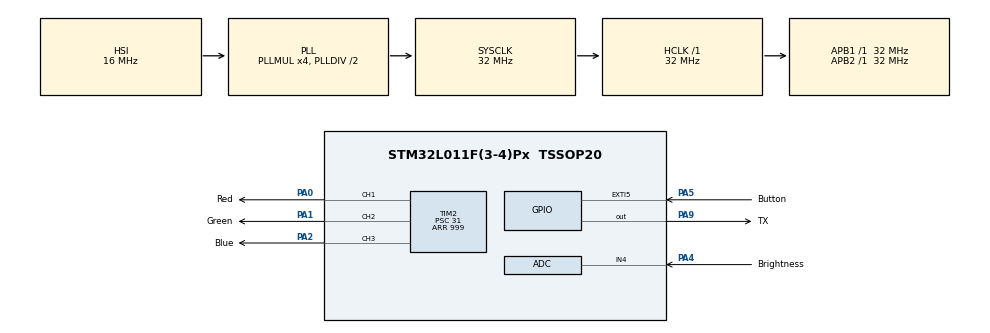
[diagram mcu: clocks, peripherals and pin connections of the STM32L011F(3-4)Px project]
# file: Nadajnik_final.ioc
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Mcu.Family=STM32L0
Mcu.Name=STM32L011F(3-4)Px
Mcu.Package=TSSOP20
NVIC.EXTI4_15_IRQn=true\:0\:0\:false\:false\:true\:true\:true
PA0-CK_IN.GPIO_Label=Red
PA0-CK_IN.Signal=S_TIM2_CH1
PA1.GPIO_Label=Green
PA1.Signal=S_TIM2_CH2
PA13.Mode=Serial_Wire
PA13.Signal=SYS_SWDIO
PA14.Mode=Serial_Wire
PA14.Signal=SYS_SWCLK
PA2.GPIO_Label=Blue
PA2.Signal=S_TIM2_CH3
PA4.GPIO_Label=Brightness
PA4.Mode=IN4
PA4.Signal=ADC_IN4
PA5.GPIO_Label=Button
PA5.GPIO_ModeDefaultEXTI=GPIO_MODE_IT_FALLING
PA5.Signal=GPXTI5
PA9.GPIO_Label=TX
PA9.GPIO_Speed=GPIO_SPEED_FREQ_LOW
PA9.Signal=GPIO_Output
ProjectManager.HeapSize=0x200
ProjectManager.StackSize=0x400
ProjectManager.TargetToolchain=TrueSTUDIO
RCC.AHBFreq_Value=32000000
RCC.APB1Freq_Value=32000000
RCC.APB1TimFreq_Value=32000000
RCC.APB2Freq_Value=32000000
RCC.APB2TimFreq_Value=32000000
RCC.HCLKFreq_Value=32000000
RCC.HSE_VALUE=8000000
RCC.HSI16_VALUE=16000000
RCC.HSI_VALUE=16000000
RCC.LSE_VALUE=32768
RCC.MSI_VALUE=2097000
RCC.PLLMUL=RCC_PLLMUL_4
RCC.SYSCLKFreq_VALUE=32000000
RCC.SYSCLKSource=RCC_SYSCLKSOURCE_PLLCLK
RCC.VCOOutputFreq_Value=64000000
SH.S_TIM2_CH1.0=TIM2_CH1,PWM Generation1 CH1
SH.S_TIM2_CH2.0=TIM2_CH2,PWM Generation2 CH2
SH.S_TIM2_CH3.0=TIM2_CH3,PWM Generation3 CH3
TIM2.AutoReloadPreload=TIM_AUTORELOAD_PRELOAD_DISABLE
TIM2.Channel-PWM\ Generation1\ CH1=TIM_CHANNEL_1
TIM2.Channel-PWM\ Generation2\ CH2=TIM_CHANNEL_2
TIM2.Channel-PWM\ Generation3\ CH3=TIM_CHANNEL_3
TIM2.Period=999
TIM2.Prescaler=31
TIM21.Period=65535
TIM21.Prescaler=31
VP_TIM21_VS_ClockSourceINT.Mode=Internal
VP_TIM2_VS_ClockSourceINT.Mode=Internal
board=custom

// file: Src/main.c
/* USER CODE BEGIN Header */
/**
  ******************************************************************************
  * @file           : main.c
  * @brief          : Main program body
  ******************************************************************************
  * @attention
  *
  * <h2><center>&copy; Copyright (c) 2021 STMicroelectronics.
  * All rights reserved.</center></h2>
  *
  * This software component is licensed by ST under BSD 3-Clause license,
  * the "License"; You may not use this file except in compliance with the
  * License. You may obtain a copy of the License at:
  *                        opensource.org/licenses/BSD-3-Clause
  *
  ******************************************************************************
  */
/* USER CODE END Header */

#include "main.h"
#include "adc.h"
#include "tim.h"
#include "gpio.h"

void SystemClock_Config(void);

/* USER CODE BEGIN 0 */

void delay_us (uint16_t us)
{
	__HAL_TIM_SET_COUNTER(&htim21,0);
	while (__HAL_TIM_GET_COUNTER(&htim21) < us);
}

void burst(uint8_t cycle_count)
{
	for(int i = 0; i < cycle_count ; i++ ){
		HAL_GPIO_WritePin(TX_GPIO_Port, TX_Pin, GPIO_PIN_SET);
		delay_us(13);
		HAL_GPIO_WritePin(TX_GPIO_Port, TX_Pin, GPIO_PIN_RESET);
		delay_us(13);
	}
}

void send_symbol(uint8_t bit_count, uint8_t cycle_count){
	for(int i = 0; i < bit_count; i++){
		if(i%2) delay_us((26 * 6 * cycle_count) / 5);
		else burst((6 * cycle_count) / 7);
	}
}

//Global variables

volatile uint8_t button = 1;

/* USER CODE END 0 */

int main(void)
{

  /* MCU Configuration--------------------------------------------------------*/

  /* Reset of all peripherals, Initializes the Flash interface and the Systick. */
  HAL_Init();

  /* Configure the system clock */
  SystemClock_Config();

  /* Initialize all configured peripherals */
  MX_GPIO_Init();
  MX_ADC_Init();
  MX_TIM2_Init();
  MX_TIM21_Init();
  /* USER CODE BEGIN 2 */

  HAL_TIM_Base_Start(&htim21);

  HAL_TIM_PWM_Start(&htim2, TIM_CHANNEL_1);// red
  HAL_TIM_PWM_Start(&htim2, TIM_CHANNEL_2);// green
  HAL_TIM_PWM_Start(&htim2, TIM_CHANNEL_3);// blue

  uint16_t Red = 999;
  uint16_t Green = 500;
  uint16_t Blue = 0;

  uint32_t Red_Scaled = 0;
  uint32_t Green_Scaled = 0;
  uint32_t Blue_Scaled = 0;

  uint8_t state = 0;
  uint16_t power = 0;

  /* USER CODE END 2 */

  /* Infinite loop */
  /* USER CODE BEGIN WHILE */
  while (1)
  {
	  while(button){
		  if(Red == 999) state = 1;
		  else if(Green == 999) state = 2;
		  else if(Blue == 999) state = 3;
		  else if(Green == 0) state = 4;

		  if(state == 1){
			  Red = Red - 1;
			  Green = Green + 1;
			  Blue = Blue + 1;
		  }
		  else if(state == 2){
			  Red = Red - 1;
			  Green = Green - 1;
			  Blue = Blue + 1;
		  }
		  else if(state == 3){
			  Red = Red + 1;
			  Green = Green - 1;
			  Blue = Blue - 1;
		  }
		  else if(state == 4){
			  Red = Red + 1;
			  Green = Green + 1;
			  Blue = Blue - 1;
		  }

		  HAL_ADC_Start(&hadc);
		  HAL_ADC_PollForConversion(&hadc,1000);
		  power = HAL_ADC_GetValue(&hadc);

		  if(power < 180){

			  Red_Scaled = 0;
			  Green_Scaled = 0;
			  Blue_Scaled = 0;

		  }
		  else if((power > 200)){

			  Red_Scaled = ( Red * power ) / 4095;
			  Green_Scaled = ( Green * power ) / 4095;
			  Blue_Scaled = ( Blue * power ) / 4095;
			  }

			  __HAL_TIM_SET_COMPARE(&htim2, TIM_CHANNEL_1, Red_Scaled);
			  __HAL_TIM_SET_COMPARE(&htim2, TIM_CHANNEL_2, Green_Scaled);
			  __HAL_TIM_SET_COMPARE(&htim2, TIM_CHANNEL_3, Blue_Scaled);

		  for(int i=0 ;i<20 ;i++){
			  if(!button) break;
			  HAL_Delay(1);
		  }

    /* USER CODE END WHILE */

    /* USER CODE BEGIN 3 */

	  }

	  __HAL_TIM_SET_COMPARE(&htim2, TIM_CHANNEL_1, 100);
	  __HAL_TIM_SET_COMPARE(&htim2, TIM_CHANNEL_2, 0);
	  __HAL_TIM_SET_COMPARE(&htim2, TIM_CHANNEL_3, 0);
	  send_symbol(10, 23);
	  HAL_Delay(150);
	  button = 1;

	  for(int i=0 ;i<450 ;i++){
	  			  if(!button) {
	  				  i = 0;
	  				  send_symbol(10, 23);
	  				  HAL_Delay(150);
	  				  button = 1;
	  			  }
	  			HAL_Delay(1);
	  		  }

	  __HAL_TIM_SET_COMPARE(&htim2, TIM_CHANNEL_1, Red_Scaled);
	  __HAL_TIM_SET_COMPARE(&htim2, TIM_CHANNEL_2, Green_Scaled);
	  __HAL_TIM_SET_COMPARE(&htim2, TIM_CHANNEL_3, Blue_Scaled);

  }

  /* USER CODE END 3 */
}

void SystemClock_Config(void)
{
  RCC_OscInitTypeDef RCC_OscInitStruct = {0};
  RCC_ClkInitTypeDef RCC_ClkInitStruct = {0};

  /** Configure the main internal regulator output voltage
  */
  __HAL_PWR_VOLTAGESCALING_CONFIG(PWR_REGULATOR_VOLTAGE_SCALE1);
  /** Initializes the CPU, AHB and APB busses clocks
  */
  RCC_OscInitStruct.OscillatorType = RCC_OSCILLATORTYPE_HSI;
  RCC_OscInitStruct.HSIState = RCC_HSI_ON;
  RCC_OscInitStruct.HSICalibrationValue = RCC_HSICALIBRATION_DEFAULT;
  RCC_OscInitStruct.PLL.PLLState = RCC_PLL_ON;
  RCC_OscInitStruct.PLL.PLLSource = RCC_PLLSOURCE_HSI;
  RCC_OscInitStruct.PLL.PLLMUL = RCC_PLLMUL_4;
  RCC_OscInitStruct.PLL.PLLDIV = RCC_PLLDIV_2;
  if (HAL_RCC_OscConfig(&RCC_OscInitStruct) != HAL_OK)
  {
    Error_Handler();
  }
  /** Initializes the CPU, AHB and APB busses clocks
  */
  RCC_ClkInitStruct.ClockType = RCC_CLOCKTYPE_HCLK|RCC_CLOCKTYPE_SYSCLK
                              |RCC_CLOCKTYPE_PCLK1|RCC_CLOCKTYPE_PCLK2;
  RCC_ClkInitStruct.SYSCLKSource = RCC_SYSCLKSOURCE_PLLCLK;
  RCC_ClkInitStruct.AHBCLKDivider = RCC_SYSCLK_DIV1;
  RCC_ClkInitStruct.APB1CLKDivider = RCC_HCLK_DIV1;
  RCC_ClkInitStruct.APB2CLKDivider = RCC_HCLK_DIV1;

  if (HAL_RCC_ClockConfig(&RCC_ClkInitStruct, FLASH_LATENCY_1) != HAL_OK)
  {
    Error_Handler();
  }
}

/* USER CODE BEGIN 4 */
void HAL_GPIO_EXTI_Callback(uint16_t GPIO_Pin){

	if(GPIO_Pin == Button_Pin){
		button = 0;
	}
}
/* USER CODE END 4 */

void Error_Handler(void)
{
}

/************************ (C) COPYRIGHT STMicroelectronics *****END OF FILE****/
